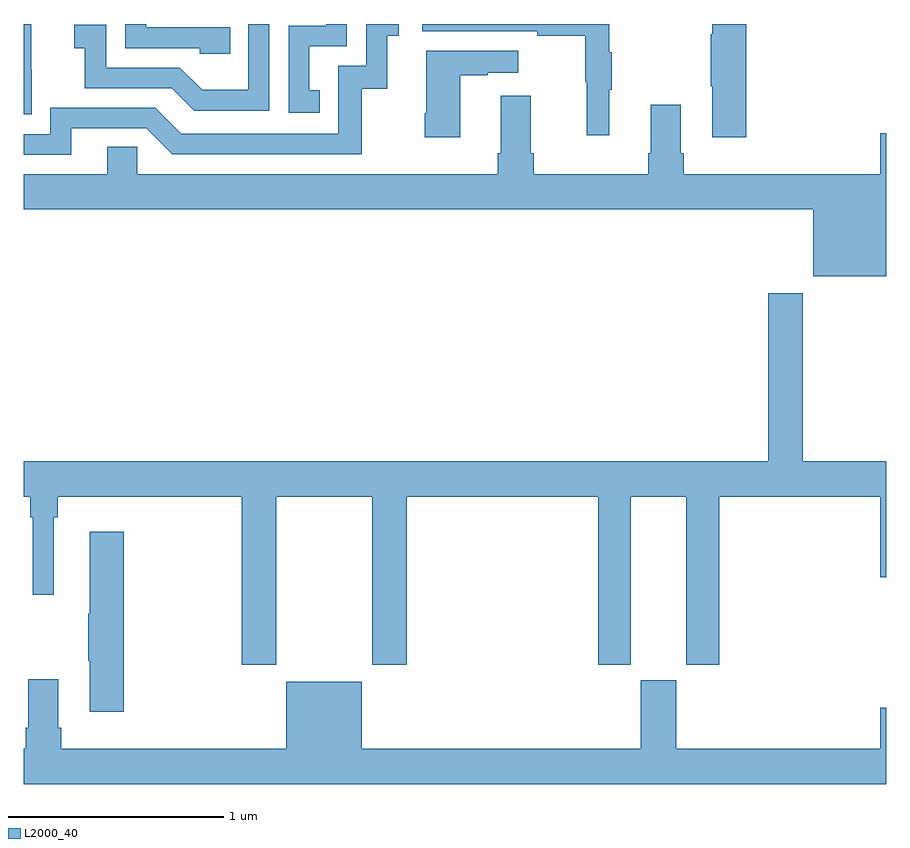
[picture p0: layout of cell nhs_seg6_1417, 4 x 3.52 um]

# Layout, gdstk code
import gdstk
lib = gdstk.Library(unit=1e-6, precision=1e-09)
def P(c, l, *ps):  # polygons
    for p in ps: c.add(gdstk.Polygon(p, *l))
L2000_40 = (2000, 40)

nhs_seg6_1417 = lib.new_cell('nhs_seg6_1417')
P(nhs_seg6_1417, L2000_40, [(200.351,977.5),(200.192,977.5),(200.192,977.453),(200.185,977.453),(200.185,977.212),(200.192,977.212),(200.192,976.974),(200.351,976.974)],
  [(197.037,977.287),(197.036,977.287),(197.036,977.5),(197,977.5),(197,977.081),(197.037,977.081)],
  [(197.957,977.484),(197.568,977.484),(197.568,977.5),(197.472,977.5),(197.472,977.388),(197.817,977.388),(197.817,977.361),(197.957,977.361)],
  [(198.138,977.5),(198.042,977.5),(198.042,977.194),(197.828,977.194),(197.724,977.298),(197.382,977.298),(197.382,977.497),(197.235,977.497),(197.235,977.387),(197.284,977.387),(197.284,977.202),(197.687,977.202),(197.792,977.097),(198.138,977.097)],
  [(198.374,977.193),(198.325,977.193),(198.325,977.397),(198.498,977.397),(198.498,977.5),(198.402,977.5),(198.402,977.493),(198.228,977.493),(198.228,977.088),(198.374,977.088)],
  [(197.221,977.016),(197.568,977.016),(197.688,976.896),(198.568,976.896),(198.568,977.199),(198.686,977.199),(198.686,977.445),(198.739,977.445),(198.739,977.5),(198.588,977.5),(198.588,977.307),(198.459,977.307),(198.459,976.992),(197.73,976.992),(197.61,977.112),(197.124,977.112),(197.124,976.989),(197,976.989),(197,976.893),(197.221,976.893)],
  [(199.715,977.195),(199.726,977.195),(199.726,977.369),(199.715,977.369),(199.715,977.5),(198.849,977.5),(198.849,977.466),(199.381,977.466),(199.381,977.446),(199.605,977.446),(199.605,977.232),(199.612,977.232),(199.612,976.983),(199.715,976.983)],
  [(199.024,977.263),(199.151,977.263),(199.151,977.273),(199.294,977.273),(199.294,977.377),(198.866,977.377),(198.866,977.086),(198.859,977.086),(198.859,976.974),(199.024,976.974)],
  [(201,976.993),(200.972,976.993),(200.972,976.804),(200.06,976.804),(200.06,976.9),(200.047,976.9),(200.047,977.125),(199.907,977.125),(199.907,976.9),(199.895,976.9),(199.895,976.804),(199.364,976.804),(199.364,976.9),(199.351,976.9),(199.351,977.167),(199.211,977.167),(199.211,976.9),(199.199,976.9),(199.199,976.804),(197.526,976.804),(197.526,976.931),(197.387,976.931),(197.387,976.804),(197,976.804),(197,976.64),(200.66,976.64),(200.66,976.331),(201,976.331)],
  [(198.171,975.308),(198.616,975.308),(198.616,974.529),(198.776,974.529),(198.776,975.308),(199.664,975.308),(199.664,974.529),(199.816,974.529),(199.816,975.308),(200.072,975.308),(200.072,974.529),(200.225,974.529),(200.225,975.308),(200.972,975.308),(200.972,974.934),(201,974.934),(201,975.472),(200.613,975.472),(200.613,976.252),(200.453,976.252),(200.453,975.472),(197,975.472),(197,975.308),(197.03,975.308),(197.03,975.212),(197.043,975.212),(197.043,974.853),(197.14,974.853),(197.14,975.212),(197.159,975.212),(197.159,975.308),(198.011,975.308),(198.011,974.529),(198.171,974.529)],
  [(197.465,975.145),(197.306,975.145),(197.306,974.765),(197.299,974.765),(197.299,974.548),(197.306,974.548),(197.306,974.31),(197.465,974.31)],
  [(201,974.329),(200.972,974.329),(200.972,974.14),(200.026,974.14),(200.026,974.457),(199.862,974.457),(199.862,974.14),(198.568,974.14),(198.568,974.449),(198.218,974.449),(198.218,974.14),(197.174,974.14),(197.174,974.236),(197.161,974.236),(197.161,974.461),(197.021,974.461),(197.021,974.236),(197.009,974.236),(197.009,974.14),(197,974.14),(197,973.976),(201,973.976)])

lib.write_gds('nhs_seg6_1417.gds')
